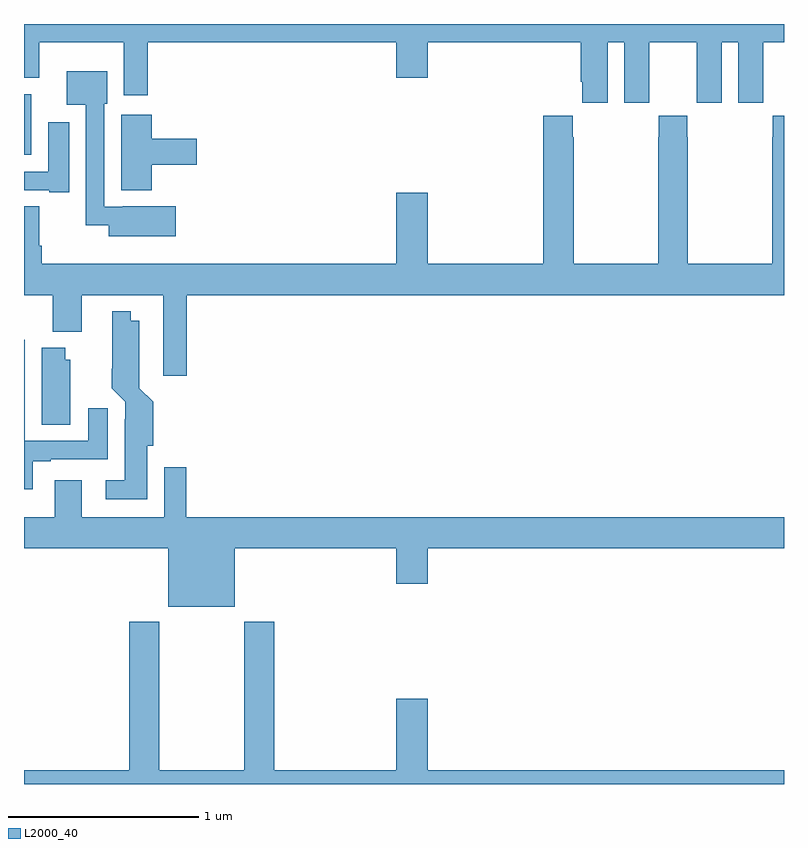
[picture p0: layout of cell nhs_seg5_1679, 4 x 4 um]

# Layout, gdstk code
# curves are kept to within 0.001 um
import gdstk
lib = gdstk.Library(unit=1e-6, precision=1e-09)
def R(c, l, rs):  # rectangles x0, y0, x1, y1
    for r in rs: c.add(gdstk.rectangle(r[:2], r[2:], *l))
def P(c, l, *ps):  # polygons
    for p in ps: c.add(gdstk.Polygon(p, *l))
L2000_40 = (2000, 40)

nhs_seg5_1679 = lib.new_cell('nhs_seg5_1679')
R(nhs_seg5_1679, L2000_40, [(211,912.11,211.039,912.43)])
P(nhs_seg5_1679, L2000_40, [(214.072,912.704),(214.16,912.704),(214.16,912.384),(214.29,912.384),(214.29,912.496),(214.291,912.496),(214.291,912.704),(214.541,912.704),(214.541,912.496),(214.542,912.496),(214.542,912.384),(214.672,912.384),(214.672,912.704),(214.76,912.704),(214.76,912.384),(214.89,912.384),(214.89,912.496),(214.891,912.496),(214.891,912.704),(215,912.704),(215,912.799),(211,912.799),(211,912.515),(211.081,912.515),(211.081,912.704),(211.526,912.704),(211.526,912.423),(211.652,912.423),(211.652,912.704),(212.96,912.704),(212.96,912.516),(213.124,912.516),(213.124,912.704),(213.929,912.704),(213.929,912.496),(213.938,912.496),(213.938,912.384),(214.072,912.384)],
  [(211.798,911.839),(211.519,911.839),(211.519,911.838),(211.422,911.838),(211.422,912.378),(211.438,912.378),(211.438,912.55),(211.226,912.55),(211.226,912.374),(211.326,912.374),(211.326,911.741),(211.445,911.741),(211.445,911.681),(211.798,911.681)],
  [(211.673,912.059),(211.909,912.059),(211.909,912.194),(211.673,912.194),(211.673,912.322),(211.511,912.322),(211.511,911.924),(211.673,911.924)],
  [(211.094,911.632),(211.081,911.632),(211.081,911.84),(211,911.84),(211,911.372),(211.151,911.372),(211.151,911.18),(211.303,911.18),(211.303,911.372),(211.733,911.372),(211.733,910.947),(211.856,910.947),(211.856,911.372),(215,911.372),(215,912.316),(214.941,912.316),(214.941,912.203),(214.939,912.203),(214.939,911.536),(214.494,911.536),(214.494,912.203),(214.491,912.203),(214.491,912.316),(214.341,912.316),(214.341,912.203),(214.339,912.203),(214.339,911.536),(213.894,911.536),(213.894,912.203),(213.887,912.203),(213.887,912.316),(213.734,912.316),(213.734,911.536),(213.124,911.536),(213.124,911.911),(212.96,911.911),(212.96,911.536),(211.094,911.536)],
  [(211.237,912.283),(211.127,912.283),(211.127,912.021),(211,912.021),(211,911.925),(211.133,911.925),(211.133,911.913),(211.237,911.913)],
  [(211.648,910.578),(211.679,910.578),(211.679,910.81),(211.607,910.882),(211.606,911.236),(211.561,911.236),(211.561,911.287),(211.464,911.287),(211.463,910.882),(211.533,910.812),(211.533,910.718),(211.529,910.718),(211.529,910.399),(211.431,910.399),(211.431,910.298),(211.648,910.298)],
  [(211.045,910.497),(211.141,910.497),(211.141,910.509),(211.441,910.509),(211.441,910.777),(211.337,910.777),(211.337,910.605),(211.003,910.605),(211.003,911.137),(211,911.137),(211,910.35),(211.045,910.35)],
  [(211.243,911.031),(211.216,911.031),(211.216,911.095),(211.094,911.095),(211.094,910.69),(211.243,910.69)],
  [(212.11,910.04),(212.96,910.04),(212.96,909.852),(213.124,909.852),(213.124,910.04),(215,910.04),(215,910.204),(211.853,910.204),(211.853,910.465),(211.737,910.465),(211.737,910.204),(211.303,910.204),(211.303,910.399),(211.163,910.399),(211.163,910.204),(211,910.204),(211,910.04),(211.76,910.04),(211.76,909.731),(212.11,909.731)],
  [(213.124,909.247),(212.96,909.247),(212.96,908.872),(212.318,908.872),(212.318,909.652),(212.158,909.652),(212.158,908.872),(211.713,908.872),(211.713,909.652),(211.553,909.652),(211.553,908.872),(211,908.872),(211,908.799),(215,908.799),(215,908.872),(213.124,908.872)])

lib.write_gds('nhs_seg5_1679.gds')
